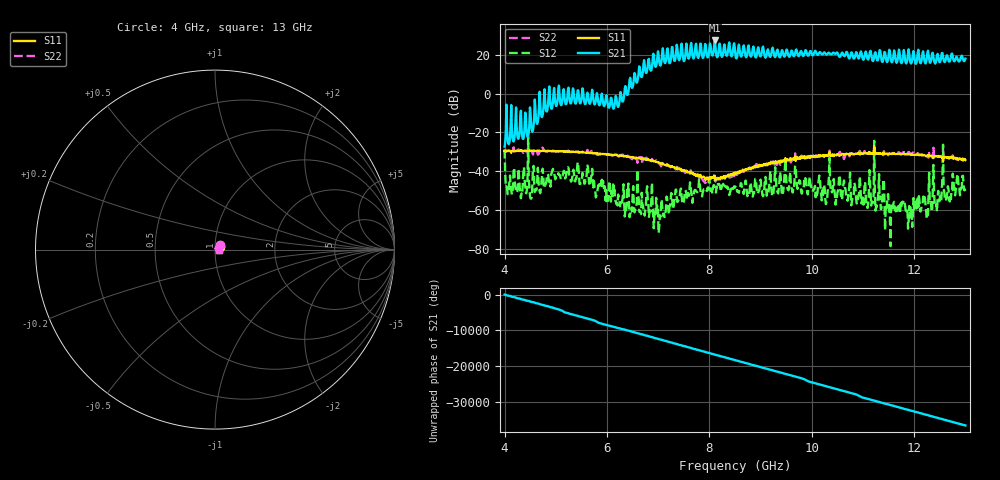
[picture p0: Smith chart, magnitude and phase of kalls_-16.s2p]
! Micran, Research & Production Company
! Date: 2025-04-17 14:09:14
! Frequency	S11	S21	S12	S22
# Hz S dB R 50
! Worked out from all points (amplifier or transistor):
!   764 points, 4 GHz to 13 GHz, reference 50 ohm
!   highest |S21| = 27.4 dB at 8.105 GHz (marker M1)
!   |S21| within 3 dB of that: 8.091347 GHz to 8.117688 GHz (26.34 MHz wide, 0.325 % of centre)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
!   unconditionally stable (mu >= 1): start of sweep to end of sweep
!   at 5.498 GHz: K = 125.97, MAG = -3.3 dB, |S12| = -44.7 dB
!   at 8.506 GHz: K = 11.73, MAG = 20.5 dB, |S12| = -47.9 dB
!   at 13 GHz: K = 20.15, MAG = 18.0 dB, |S12| = -50.1 dB
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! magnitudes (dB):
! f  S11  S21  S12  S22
! 4 GHz  -29.6  -27.3  -29.0  -28.5
! 4.059 GHz  -29.5  -23.7  -51.7  -29.4
! 4.448 GHz  -29.5  -22.3  -43.0  -30.0
! 4.507 GHz  -29.5  -10.4  -54.0  -29.5
! 4.873 GHz  -29.5  3.7  -46.7  -29.7
! 5.51 GHz  -30.1  -0.5  -44.3  -30.2
! 6.218 GHz  -31.8  -6.9  -52.0  -32.0
! 6.784 GHz  -34.1  11.9  -47.7  -33.8
! 7.008 GHz  -35.4  19.6  -71.9  -35.8
! 7.35 GHz  -38.4  21.4  -49.4  -38.8
! 8.105 GHz  -42.3  27.4  -48.7  -44.4
! 8.506 GHz  -40.8  20.5  -47.9  -40.5
! 9.485 GHz  -33.3  20.3  -34.1  -34.2
! 10 GHz  -32.5  20.1  -49.6  -32.5
! 11.2 GHz  -30.9  16.8  -56.2  -31.0
! 11.5 GHz  -31.0  20.3  -57.2  -31.0
! 12.25 GHz  -31.9  18.1  -64.6  -32.3
! 12.35 GHz  -32.1  20.9  -59.2  -32.6
! 12.46 GHz  -32.4  20.5  -53.5  -32.3
! 12.55 GHz  -33.2  20.9  -43.3  -33.3
! 12.61 GHz  -32.6  17.0  -53.4  -32.9
! 13 GHz  -34.2  18.0  -50.1  -34.0
